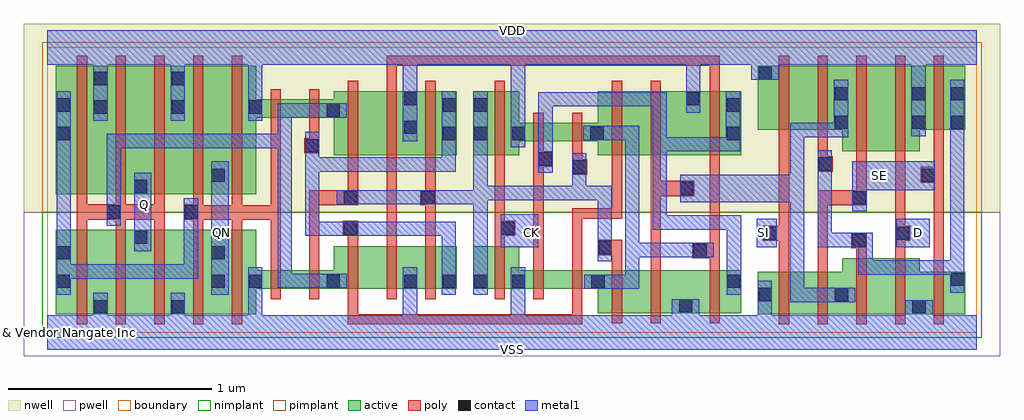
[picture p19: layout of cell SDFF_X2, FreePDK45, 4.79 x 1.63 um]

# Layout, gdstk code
import gdstk
lib = gdstk.Library(unit=1e-6, precision=1e-10)
def R(c, l, rs):  # rectangles x0, y0, x1, y1
    for r in rs: c.add(gdstk.rectangle(r[:2], r[2:], *l))
def A(c, l, x, y, w, h, nx, ny, dx, dy):  # array of equal rectangles
    R(c, l, [(x+i*dx, y+j*dy, x+i*dx+w, y+j*dy+h) for i in range(nx) for j in range(ny)])
def P(c, l, *ps):  # polygons
    for p in ps: c.add(gdstk.Polygon(p, *l))
active = (1, 0)
pwell = (2, 0)
nwell = (3, 0)
nimplant = (4, 0)
pimplant = (5, 0)
poly = (9, 0)
contact = (10, 0)
metal1 = (11, 0)
boundary = (235, 0)

sdff_x2 = lib.new_cell('SDFF_X2')
P(sdff_x2, active, [(0.04,0.09),(0.04,0.505),(1.025,0.505),(1.025,0.305),(1.405,0.305),(1.405,0.425),(2.01,0.425),(2.01,0.215),(1.025,0.215),(1.025,0.09)],
  [(0.04,0.68),(0.04,1.31),(1.025,1.31),(1.025,1.145),(1.405,1.145),(1.405,1.185),(2.01,1.185),(2.01,0.87),(1.405,0.87),(1.405,1.055),(1.025,1.055),(1.025,0.68)],
  [(2.7,0.095),(2.7,0.215),(2.09,0.215),(2.09,0.425),(2.315,0.425),(2.315,0.305),(3.405,0.305),(3.405,0.095)],
  [(2.09,0.87),(2.09,1.185),(2.315,1.185),(2.315,1.03),(2.7,1.03),(2.7,1.185),(3.405,1.185),(3.405,0.87),(2.7,0.87),(2.7,0.94),(2.315,0.94),(2.315,0.87)],
  [(3.485,0.09),(3.485,0.3),(3.9,0.3),(3.9,0.365),(4.28,0.365),(4.28,0.3),(4.505,0.3),(4.505,0.09)],
  [(3.9,0.89),(3.9,0.995),(3.485,0.995),(3.485,1.31),(4.505,1.31),(4.505,0.995),(4.28,0.995),(4.28,0.89)])
R(sdff_x2, pwell, [(-0.115,-0.115,4.675,0.59)])
R(sdff_x2, nwell, [(-0.115,0.59,4.675,1.515)])
R(sdff_x2, nimplant, [(-0.025,-0.025,4.585,0.59)])
R(sdff_x2, pimplant, [(-0.025,0.59,4.585,1.425)])
P(sdff_x2, poly, [(0.145,0.04),(0.145,1.36),(0.195,1.36),(0.195,0.63),(0.335,0.63),(0.335,1.36),(0.385,1.36),(0.385,0.63),(0.525,0.63),(0.525,1.36),(0.575,1.36),(0.575,0.04),(0.525,0.04),(0.525,0.555),(0.385,0.555),(0.385,0.04),(0.335,0.04),(0.335,0.555),(0.195,0.555),(0.195,0.04)],
  [(0.715,0.04),(0.715,0.555),(0.67,0.555),(0.67,0.63),(0.715,0.63),(0.715,1.36),(0.765,1.36),(0.765,0.625),(0.905,0.625),(0.905,1.36),(0.955,1.36),(0.955,0.625),(1.095,0.625),(1.095,1.195),(1.145,1.195),(1.145,0.165),(1.095,0.165),(1.095,0.555),(0.955,0.555),(0.955,0.04),(0.905,0.04),(0.905,0.555),(0.765,0.555),(0.765,0.04)],
  [(1.26,0.88),(1.26,0.955),(1.285,0.955),(1.285,1.195),(1.335,1.195),(1.335,0.88)],
  [(1.285,0.165),(1.285,0.7),(1.475,0.7),(1.475,1.235),(1.525,1.235),(1.525,0.625),(1.335,0.625),(1.335,0.165)],
  [(1.855,0.165),(1.855,0.625),(1.83,0.625),(1.83,0.7),(1.855,0.7),(1.855,1.235),(1.905,1.235),(1.905,0.165)],
  [(2.195,0.165),(2.195,1.235),(2.245,1.235),(2.245,0.55),(2.295,0.55),(2.295,0.475),(2.245,0.475),(2.245,0.165)],
  [(2.385,0.165),(2.385,1.08),(2.435,1.08),(2.435,0.89),(2.48,0.89),(2.48,0.815),(2.435,0.815),(2.435,0.165)],
  [(2.575,0.775),(2.575,1.08),(2.625,1.08),(2.625,0.85),(2.65,0.85),(2.65,0.775)],
  [(2.77,0.045),(2.77,0.38),(2.7,0.38),(2.7,0.455),(2.82,0.455),(2.82,0.045)],
  [(1.475,0.04),(1.475,0.475),(1.45,0.475),(1.45,0.55),(1.525,0.55),(1.525,0.09),(2.575,0.09),(2.575,0.61),(2.77,0.61),(2.77,1.235),(2.82,1.235),(2.82,0.56),(2.625,0.56),(2.625,0.04)],
  [(2.96,0.045),(2.96,1.235),(3.01,1.235),(3.01,0.745),(3.175,0.745),(3.175,0.67),(3.01,0.67),(3.01,0.045)],
  [(3.25,0.045),(3.25,0.365),(3.165,0.365),(3.165,0.44),(3.25,0.44),(3.25,1.31),(1.715,1.31),(1.715,0.165),(1.665,0.165),(1.665,1.36),(3.3,1.36),(3.3,0.045)],
  [(3.59,0.04),(3.59,0.45),(3.51,0.45),(3.51,0.525),(3.59,0.525),(3.59,1.36),(3.64,1.36),(3.64,0.04)],
  [(3.78,0.79),(3.78,1.36),(3.83,1.36),(3.83,0.865),(3.855,0.865),(3.855,0.79)],
  [(3.97,0.04),(3.97,0.415),(3.945,0.415),(3.945,0.49),(4.02,0.49),(4.02,0.04)],
  [(3.78,0.04),(3.78,0.7),(3.97,0.7),(3.97,1.36),(4.02,1.36),(4.02,0.625),(3.83,0.625),(3.83,0.04)],
  [(4.16,0.04),(4.16,1.36),(4.21,1.36),(4.21,0.525),(4.235,0.525),(4.235,0.45),(4.21,0.45),(4.21,0.04)],
  [(4.35,0.04),(4.35,0.735),(4.285,0.735),(4.285,0.815),(4.35,0.815),(4.35,1.36),(4.4,1.36),(4.4,0.04)])
A(sdff_x2, contact, 0.99, 0.22, 0.065, 0.065, 3, 1, 0.38, 0)
A(sdff_x2, contact, 0.23, 1.075, 0.065, 0.065, 3, 1, 0.38, 0)
R(sdff_x2, contact, [(0.23,0.095,0.295,0.16), (0.61,0.095,0.675,0.16), (4.245,0.095,4.31,0.16), (3.1,0.1,3.165,0.165), (3.49,0.155,3.555,0.22), (3.865,0.155,3.93,0.22), (0.045,0.22,0.11,0.285), (0.805,0.22,0.87,0.285), (1.94,0.22,2.005,0.285), (2.095,0.22,2.16,0.285), (2.28,0.22,2.345,0.285), (2.67,0.22,2.735,0.285), (3.335,0.22,3.4,0.285), (4.435,0.23,4.5,0.295), (0.045,0.36,0.11,0.425), (0.805,0.36,0.87,0.425), (3.17,0.37,3.235,0.435), (2.705,0.385,2.77,0.45), (3.95,0.42,4.015,0.485), (0.425,0.435,0.49,0.5), (3.515,0.455,3.58,0.52), (4.165,0.455,4.23,0.52), (1.455,0.48,1.52,0.545), (2.225,0.48,2.29,0.545), (0.29,0.56,0.355,0.625), (0.675,0.56,0.74,0.625), (1.455,0.63,1.52,0.695), (1.835,0.63,1.9,0.695), (3.95,0.63,4.015,0.695), (3.105,0.675,3.17,0.74), (0.425,0.685,0.49,0.75), (0.805,0.74,0.87,0.805), (4.29,0.74,4.355,0.805), (2.58,0.78,2.645,0.845), (3.785,0.795,3.85,0.86), (2.41,0.82,2.475,0.885), (1.265,0.885,1.33,0.95), (0.045,0.945,0.11,1.01), (1.94,0.945,2.005,1.01), (2.095,0.945,2.16,1.01), (2.28,0.945,2.345,1.01), (2.665,0.945,2.73,1.01), (3.335,0.945,3.4,1.01), (1.75,0.975,1.815,1.04), (3.865,1,3.93,1.065), (4.245,1,4.31,1.065), (4.435,1,4.5,1.065), (1.37,1.06,1.435,1.125), (0.045,1.085,0.11,1.15), (1.94,1.085,2.005,1.15), (2.095,1.085,2.16,1.15), (3.335,1.085,3.4,1.15), (1.75,1.115,1.815,1.18), (3.135,1.115,3.2,1.18), (3.865,1.14,3.93,1.205), (4.245,1.14,4.31,1.205), (4.435,1.14,4.5,1.205), (0.23,1.215,0.295,1.28), (0.61,1.215,0.675,1.28), (3.49,1.24,3.555,1.305)])
R(sdff_x2, metal1, [(0.805,0.185,0.89,0.84), (0.425,0.4,0.51,0.785), (2.225,0.42,2.41,0.58), (3.48,0.42,3.58,0.56), (4.165,0.42,4.33,0.56)])
P(sdff_x2, metal1, [(0.045,0.185),(0.045,1.185),(0.115,1.185),(0.115,0.335),(0.67,0.335),(0.67,0.66),(0.74,0.66),(0.74,0.265),(0.115,0.265),(0.115,0.185)],
  [(1.13,0.22),(1.13,0.905),(0.36,0.905),(0.36,0.525),(0.29,0.525),(0.29,0.975),(1.13,0.975),(1.13,1.125),(1.47,1.125),(1.47,1.055),(1.2,1.055),(1.2,0.29),(1.47,0.29),(1.47,0.22)],
  [(1.935,0.185),(1.935,0.475),(1.265,0.475),(1.265,0.985),(1.335,0.985),(1.335,0.86),(1.935,0.86),(1.935,1.185),(2.005,1.185),(2.005,0.79),(1.335,0.79),(1.335,0.545),(2.005,0.545),(2.005,0.185)],
  [(2.09,0.185),(2.09,0.63),(1.42,0.63),(1.42,0.7),(2.09,0.7),(2.09,1.185),(2.16,1.185),(2.16,0.72),(2.575,0.72),(2.575,0.88),(2.645,0.88),(2.645,0.72),(2.77,0.72),(2.77,0.35),(2.7,0.35),(2.7,0.65),(2.16,0.65),(2.16,0.185)],
  [(2.635,0.215),(2.635,0.285),(2.835,0.285),(2.835,0.945),(2.63,0.945),(2.63,1.015),(2.905,1.015),(2.905,0.44),(3.27,0.44),(3.27,0.37),(2.905,0.37),(2.905,0.215)],
  [(3.335,0.185),(3.335,0.505),(2.97,0.505),(2.97,1.11),(2.48,1.11),(2.48,0.785),(2.41,0.785),(2.41,1.18),(3.04,1.18),(3.04,0.96),(3.33,0.96),(3.33,1.185),(3.4,1.185),(3.4,0.89),(3.04,0.89),(3.04,0.575),(3.405,0.575),(3.405,0.185)],
  [(3.645,0.15),(3.645,0.64),(3.105,0.64),(3.105,0.775),(3.645,0.775),(3.645,1.03),(3.86,1.03),(3.86,1.24),(3.93,1.24),(3.93,0.96),(3.715,0.96),(3.715,0.22),(3.965,0.22),(3.965,0.15)],
  [(3.95,0.595),(3.95,0.84),(4.355,0.84),(4.355,0.7),(4.02,0.7),(4.02,0.595)],
  [(4.43,0.195),(4.43,0.285),(3.98,0.285),(3.98,0.42),(3.78,0.42),(3.78,0.895),(3.85,0.895),(3.85,0.49),(4.05,0.49),(4.05,0.355),(4.43,0.355),(4.43,1.24),(4.5,1.24),(4.5,0.195)],
  [(0,-0.085),(0,0.085),(0.225,0.085),(0.225,0.195),(0.295,0.195),(0.295,0.085),(0.605,0.085),(0.605,0.195),(0.675,0.195),(0.675,0.085),(0.985,0.085),(0.985,0.32),(1.055,0.32),(1.055,0.085),(1.745,0.085),(1.745,0.32),(1.815,0.32),(1.815,0.085),(2.275,0.085),(2.275,0.32),(2.345,0.32),(2.345,0.085),(3.065,0.085),(3.065,0.165),(3.2,0.165),(3.2,0.085),(3.485,0.085),(3.485,0.255),(3.555,0.255),(3.555,0.085),(4.21,0.085),(4.21,0.16),(4.345,0.16),(4.345,0.085),(4.56,0.085),(4.56,-0.085)],
  [(2.275,0.91),(2.275,1.315),(1.815,1.315),(1.815,0.94),(1.745,0.94),(1.745,1.315),(1.055,1.315),(1.055,1.04),(0.985,1.04),(0.985,1.315),(0.675,1.315),(0.675,1.04),(0.605,1.04),(0.605,1.315),(0.295,1.315),(0.295,1.04),(0.225,1.04),(0.225,1.315),(0,1.315),(0,1.485),(4.56,1.485),(4.56,1.315),(4.31,1.315),(4.31,0.965),(4.24,0.965),(4.24,1.315),(3.59,1.315),(3.59,1.24),(3.455,1.24),(3.455,1.315),(3.205,1.315),(3.205,1.08),(3.135,1.08),(3.135,1.315),(2.345,1.315),(2.345,0.91)])
R(sdff_x2, boundary, [(0,0,4.56,1.4)])
sdff_x2.add(gdstk.Label('CK', (2.375,0.49), layer=11, texttype=0))
sdff_x2.add(gdstk.Label('D', (4.275,0.49), layer=11, texttype=0))
sdff_x2.add(gdstk.Label('Q', (0.475,0.63), layer=11, texttype=0))
sdff_x2.add(gdstk.Label('QN', (0.855,0.49), layer=11, texttype=0))
sdff_x2.add(gdstk.Label('SE', (4.085,0.77), layer=11, texttype=0))
sdff_x2.add(gdstk.Label('SI', (3.515,0.49), layer=11, texttype=0))
sdff_x2.add(gdstk.Label('VDD', (2.28,1.485), layer=11, texttype=0))
sdff_x2.add(gdstk.Label('VSS', (2.28,-0.085), layer=11, texttype=0))
sdff_x2.add(gdstk.Label('& Vendor Nangate Inc', (0,0), layer=63, texttype=63))
sdff_x2.add(gdstk.Label('& Product Open Cell Library', (0,0), layer=63, texttype=63))
sdff_x2.add(gdstk.Label('& Version 2010_12', (0,0), layer=63, texttype=63))
sdff_x2.add(gdstk.Label('& Instance SDFF_X2', (0,0), layer=63, texttype=63))

lib.write_gds('SDFF_X2.gds')
